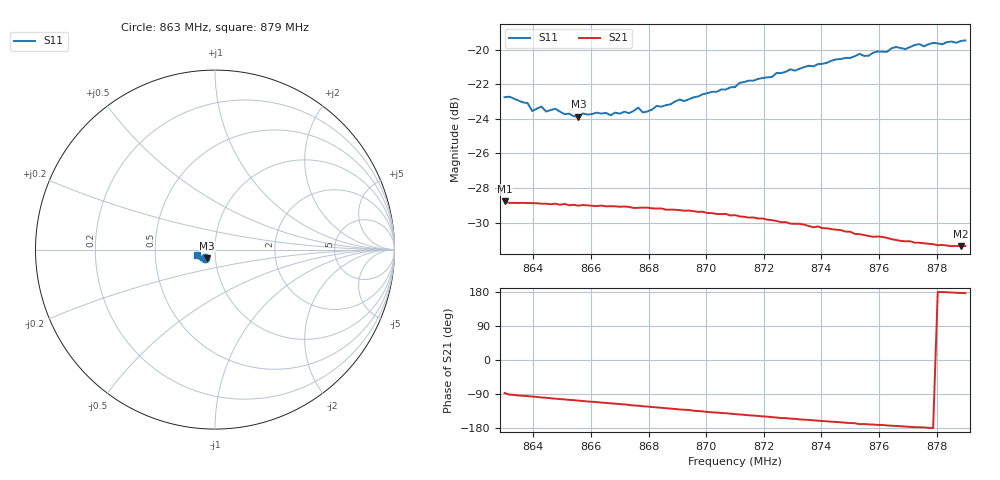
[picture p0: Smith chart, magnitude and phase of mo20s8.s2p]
# HZ S RI R 50
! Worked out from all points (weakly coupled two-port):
!   101 points, 863 MHz to 879 MHz, reference 50 ohm
!   highest |S21| = -28.78 dB at 863 MHz (marker M1); lowest = -31.4 dB at 878.84 MHz (marker M2)
!   lowest |S11| = -23.9 dB at 865.56 MHz (marker M3), VSWR 1.14, Z = 45.6 - j4.27 ohm
!   |S11| at or under -10 dB: start of sweep to end of sweep
!   S12 and S22 are empty: the file has one direction only
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8.63e8  -0.0546 -0.0483  0.00188 -0.0363  0 0  0 0
8.638e8  -0.0516 -0.0474  -0.00335 -0.0358  0 0  0 0
8.6396e8  -0.0489 -0.045  -0.00402 -0.0358  0 0  0 0
8.6428e8  -0.0489 -0.0479  -0.00548 -0.0354  0 0  0 0
8.6444e8  -0.0475 -0.0462  -0.00607 -0.0353  0 0  0 0
8.6476e8  -0.0482 -0.0473  -0.00752 -0.0351  0 0  0 0
8.6556e8  -0.0438 -0.0466  -0.0105 -0.0338  0 0  0 0
8.6572e8  -0.0437 -0.0487  -0.0111 -0.0338  0 0  0 0
8.6668e8  -0.0422 -0.0489  -0.0146 -0.0321  0 0  0 0
8.6732e8  -0.0419 -0.0504  -0.0169 -0.0308  0 0  0 0
8.6764e8  -0.0424 -0.0531  -0.0178 -0.03  0 0  0 0
8.678e8  -0.0402 -0.0522  -0.0186 -0.0296  0 0  0 0
8.6844e8  -0.0405 -0.0551  -0.0205 -0.0281  0 0  0 0
8.71e8  -0.0493 -0.0604  -0.0265 -0.0201  0 0  0 0
8.7116e8  -0.0513 -0.0616  -0.0266 -0.0195  0 0  0 0
8.7228e8  -0.0563 -0.0615  -0.028 -0.0157  0 0  0 0
8.7292e8  -0.0616 -0.0625  -0.0284 -0.0134  0 0  0 0
8.7372e8  -0.0645 -0.062  -0.0286 -0.0109  0 0  0 0
8.7628e8  -0.0836 -0.0523  -0.0283 -0.00367  0 0  0 0
8.7644e8  -0.0866 -0.0521  -0.0281 -0.00317  0 0  0 0
8.7884e8  -0.1006 -0.0334  -0.027 0.00143  0 0  0 0
8.79e8  -0.1017 -0.031  -0.027 0.00176  0 0  0 0
